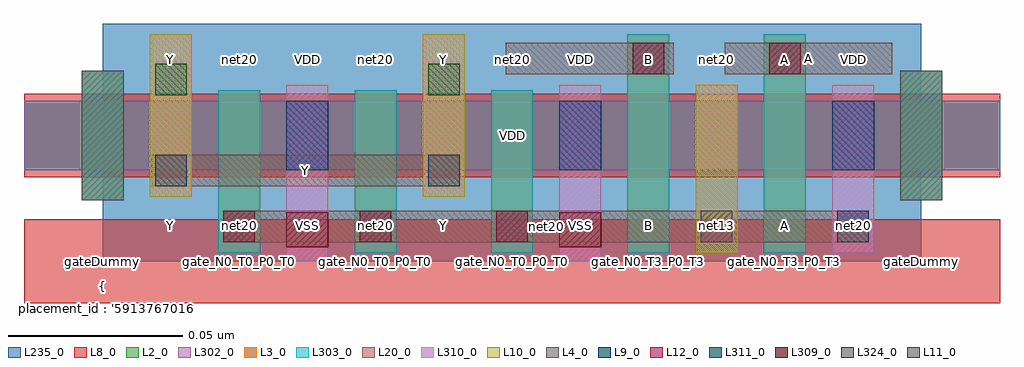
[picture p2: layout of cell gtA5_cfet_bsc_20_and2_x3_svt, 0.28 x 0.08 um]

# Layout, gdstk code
import gdstk
lib = gdstk.Library(unit=1e-6, precision=2.5e-10)
def R(c, l, rs):  # rectangles x0, y0, x1, y1
    for r in rs: c.add(gdstk.rectangle(r[:2], r[2:], *l))
def A(c, l, x, y, w, h, nx, ny, dx, dy):  # array of equal rectangles
    R(c, l, [(x+i*dx, y+j*dy, x+i*dx+w, y+j*dy+h) for i in range(nx) for j in range(ny)])
L2_0 = (2, 0)
L3_0 = (3, 0)
L4_0 = (4, 0)
L8_0 = (8, 0)
L9_0 = (9, 0)
L10_0 = (10, 0)
L11_0 = (11, 0)
L12_0 = (12, 0)
L20_0 = (20, 0)
L235_0 = (235, 0)
L302_0 = (302, 0)
L303_0 = (303, 0)
L309_0 = (309, 0)
L310_0 = (310, 0)
L311_0 = (311, 0)
L324_0 = (324, 0)

gta5_cfet_bsc_20_and2_x3 = lib.new_cell('gtA5_cfet_bsc_20_and2_x3_svt')
R(gta5_cfet_bsc_20_and2_x3, L2_0, [(-0.0225,0.026,0.2565,0.046)])
A(gta5_cfet_bsc_20_and2_x3, L3_0, 0.033, 0.0025, 0.012, 0.0465, 3, 1, 0.039, 0)
R(gta5_cfet_bsc_20_and2_x3, L3_0, [(0.15,0.0025,0.162,0.065), (0.189,0.0025,0.201,0.065), (-0.006,0.0175,0.006,0.0545), (0.228,0.0175,0.24,0.0545)])
R(gta5_cfet_bsc_20_and2_x3, L4_0, [(-0.006,0.0175,0.006,0.0545), (0.228,0.0175,0.24,0.0545)])
R(gta5_cfet_bsc_20_and2_x3, L8_0, [(-0.0225,-0.012,0.2565,0.012), (-0.0225,0.024,0.2565,0.048)])
A(gta5_cfet_bsc_20_and2_x3, L9_0, 0.0525, 0.026, 0.012, 0.02, 3, 1, 0.078, 0)
R(gta5_cfet_bsc_20_and2_x3, L10_0, [(0.1695,0.0025,0.1815,0.0505), (0.0135,0.0185,0.0255,0.065), (0.0915,0.0185,0.1035,0.065)])
R(gta5_cfet_bsc_20_and2_x3, L11_0, [(0.171,0.0055,0.18,0.0145)])
A(gta5_cfet_bsc_20_and2_x3, L12_0, 0.0345, 0.0055, 0.009, 0.009, 3, 1, 0.039, 0)
R(gta5_cfet_bsc_20_and2_x3, L12_0, [(0.1515,0.0535,0.1605,0.0625), (0.1905,0.0535,0.1995,0.0625)])
R(gta5_cfet_bsc_20_and2_x3, L20_0, [(0.0345,0.0055,0.219,0.0145), (0.014,0.0215,0.102,0.0305), (0.1153,0.0535,0.1633,0.0625), (0.1777,0.0535,0.2258,0.0625)])
R(gta5_cfet_bsc_20_and2_x3, L235_0, [(0,0,0.234,0.068)])
R(gta5_cfet_bsc_20_and2_x3, L302_0, [(-0.0225,0.026,0.2565,0.046)])
A(gta5_cfet_bsc_20_and2_x3, L303_0, 0.033, 0.0025, 0.012, 0.0465, 3, 1, 0.039, 0)
R(gta5_cfet_bsc_20_and2_x3, L303_0, [(0.15,0.0025,0.162,0.065), (0.189,0.0025,0.201,0.065), (-0.006,0.0175,0.006,0.0545), (0.228,0.0175,0.24,0.0545)])
R(gta5_cfet_bsc_20_and2_x3, L309_0, [(0.0525,0.004,0.0645,0.014), (0.1305,0.004,0.1425,0.014)])
R(gta5_cfet_bsc_20_and2_x3, L310_0, [(0.0525,0,0.0645,0.0505), (0.1305,0,0.1425,0.0505), (0.2085,0.0025,0.2205,0.0505), (0.0135,0.0185,0.0255,0.065), (0.0915,0.0185,0.1035,0.065), (0.1695,0.026,0.1815,0.0505)])
R(gta5_cfet_bsc_20_and2_x3, L311_0, [(0.21,0.0055,0.219,0.0145), (0.015,0.0215,0.024,0.0305), (0.093,0.0215,0.102,0.0305)])
R(gta5_cfet_bsc_20_and2_x3, L324_0, [(0.015,0.0475,0.024,0.0565), (0.093,0.0475,0.102,0.0565)])
gta5_cfet_bsc_20_and2_x3.add(gdstk.Label('net20', (0.1268,0.01), layer=100, texttype=100))
gta5_cfet_bsc_20_and2_x3.add(gdstk.Label('gateDummy', (0,0), layer=103, texttype=103))
gta5_cfet_bsc_20_and2_x3.add(gdstk.Label('sd_N0_T1_P0_T1', (0.0195,0), layer=103, texttype=103))
gta5_cfet_bsc_20_and2_x3.add(gdstk.Label('gate_N0_T0_P0_T0', (0.039,0), layer=103, texttype=103))
gta5_cfet_bsc_20_and2_x3.add(gdstk.Label('sd_N0_VSS_P0_VDD', (0.0585,0), layer=103, texttype=103))
gta5_cfet_bsc_20_and2_x3.add(gdstk.Label('gate_N0_T0_P0_T0', (0.078,0), layer=103, texttype=103))
gta5_cfet_bsc_20_and2_x3.add(gdstk.Label('sd_N0_T1_P0_T1', (0.0975,0), layer=103, texttype=103))
gta5_cfet_bsc_20_and2_x3.add(gdstk.Label('gate_N0_T0_P0_T0', (0.117,0), layer=103, texttype=103))
gta5_cfet_bsc_20_and2_x3.add(gdstk.Label('sd_N0_VSS_P0_VDD', (0.1365,0), layer=103, texttype=103))
gta5_cfet_bsc_20_and2_x3.add(gdstk.Label('gate_N0_T3_P0_T3', (0.156,0), layer=103, texttype=103))
gta5_cfet_bsc_20_and2_x3.add(gdstk.Label('sd_N0_abut_P0_T0', (0.1755,0), layer=103, texttype=103))
gta5_cfet_bsc_20_and2_x3.add(gdstk.Label('gate_N0_T3_P0_T3', (0.195,0), layer=103, texttype=103))
gta5_cfet_bsc_20_and2_x3.add(gdstk.Label('sd_N0_T0_P0_VDD', (0.2145,0), layer=103, texttype=103))
gta5_cfet_bsc_20_and2_x3.add(gdstk.Label('gateDummy', (0.234,0), layer=103, texttype=103))
gta5_cfet_bsc_20_and2_x3.add(gdstk.Label('}', (0,-0.0742), layer=104, texttype=104))
gta5_cfet_bsc_20_and2_x3.add(gdstk.Label('  power : None', (0,-0.0675), layer=104, texttype=104))
gta5_cfet_bsc_20_and2_x3.add(gdstk.Label('  performance : None', (0,-0.0607), layer=104, texttype=104))
gta5_cfet_bsc_20_and2_x3.add(gdstk.Label("  solution_hash : '17258601746267220225'", (0,-0.054), layer=104, texttype=104))
gta5_cfet_bsc_20_and2_x3.add(gdstk.Label('  number_m2 : 0', (0,-0.0473), layer=104, texttype=104))
gta5_cfet_bsc_20_and2_x3.add(gdstk.Label('  number_m1 : 0', (0,-0.0405), layer=104, texttype=104))
gta5_cfet_bsc_20_and2_x3.add(gdstk.Label('  number_m0cuts : 0', (0,-0.0338), layer=104, texttype=104))
gta5_cfet_bsc_20_and2_x3.add(gdstk.Label('  number_m0 : 4', (0,-0.027), layer=104, texttype=104))
gta5_cfet_bsc_20_and2_x3.add(gdstk.Label("  solution_number : '0000'", (0,-0.0203), layer=104, texttype=104))
gta5_cfet_bsc_20_and2_x3.add(gdstk.Label("  placement_id : '5913767016176827865'", (0,-0.0135), layer=104, texttype=104))
gta5_cfet_bsc_20_and2_x3.add(gdstk.Label('{', (0,-0.0067), layer=104, texttype=104))
gta5_cfet_bsc_20_and2_x3.add(gdstk.Label('Y', (0.0195,0.0103), layer=105, texttype=105))
gta5_cfet_bsc_20_and2_x3.add(gdstk.Label('net20', (0.039,0.0103), layer=105, texttype=105))
gta5_cfet_bsc_20_and2_x3.add(gdstk.Label('VSS', (0.0585,0.0103), layer=105, texttype=105))
gta5_cfet_bsc_20_and2_x3.add(gdstk.Label('net20', (0.078,0.0103), layer=105, texttype=105))
gta5_cfet_bsc_20_and2_x3.add(gdstk.Label('Y', (0.0975,0.0103), layer=105, texttype=105))
gta5_cfet_bsc_20_and2_x3.add(gdstk.Label('net20', (0.117,0.0103), layer=105, texttype=105))
gta5_cfet_bsc_20_and2_x3.add(gdstk.Label('VSS', (0.1365,0.0103), layer=105, texttype=105))
gta5_cfet_bsc_20_and2_x3.add(gdstk.Label('B', (0.156,0.0103), layer=105, texttype=105))
gta5_cfet_bsc_20_and2_x3.add(gdstk.Label('net13', (0.1755,0.0103), layer=105, texttype=105))
gta5_cfet_bsc_20_and2_x3.add(gdstk.Label('A', (0.195,0.0103), layer=105, texttype=105))
gta5_cfet_bsc_20_and2_x3.add(gdstk.Label('net20', (0.2145,0.0103), layer=105, texttype=105))
gta5_cfet_bsc_20_and2_x3.add(gdstk.Label('Y', (0.0195,0.0578), layer=105, texttype=105))
gta5_cfet_bsc_20_and2_x3.add(gdstk.Label('net20', (0.039,0.0578), layer=105, texttype=105))
gta5_cfet_bsc_20_and2_x3.add(gdstk.Label('VDD', (0.0585,0.0578), layer=105, texttype=105))
gta5_cfet_bsc_20_and2_x3.add(gdstk.Label('net20', (0.078,0.0578), layer=105, texttype=105))
gta5_cfet_bsc_20_and2_x3.add(gdstk.Label('Y', (0.0975,0.0578), layer=105, texttype=105))
gta5_cfet_bsc_20_and2_x3.add(gdstk.Label('net20', (0.117,0.0578), layer=105, texttype=105))
gta5_cfet_bsc_20_and2_x3.add(gdstk.Label('VDD', (0.1365,0.0578), layer=105, texttype=105))
gta5_cfet_bsc_20_and2_x3.add(gdstk.Label('B', (0.156,0.0578), layer=105, texttype=105))
gta5_cfet_bsc_20_and2_x3.add(gdstk.Label('net20', (0.1755,0.0578), layer=105, texttype=105))
gta5_cfet_bsc_20_and2_x3.add(gdstk.Label('A', (0.195,0.0578), layer=105, texttype=105))
gta5_cfet_bsc_20_and2_x3.add(gdstk.Label('VDD', (0.2145,0.0578), layer=105, texttype=105))
gta5_cfet_bsc_20_and2_x3.add(gdstk.Label('VSS', (0.117,0), layer=8, texttype=0))
gta5_cfet_bsc_20_and2_x3.add(gdstk.Label('VDD', (0.117,0.036), layer=8, texttype=0))
gta5_cfet_bsc_20_and2_x3.add(gdstk.Label('Y', (0.058,0.026), layer=20, texttype=251))
gta5_cfet_bsc_20_and2_x3.add(gdstk.Label('B', (0.1393,0.058), layer=20, texttype=251))
gta5_cfet_bsc_20_and2_x3.add(gdstk.Label('A', (0.2018,0.058), layer=20, texttype=251))
gta5_cfet_bsc_20_and2_x3.add(gdstk.Label('gtA5_cfet_bsc_20nm_and2_x3_rvt_0', (0,0), layer=235, texttype=0))

lib.write_gds('gtA5_cfet_bsc_20_and2_x3_svt.gds')
